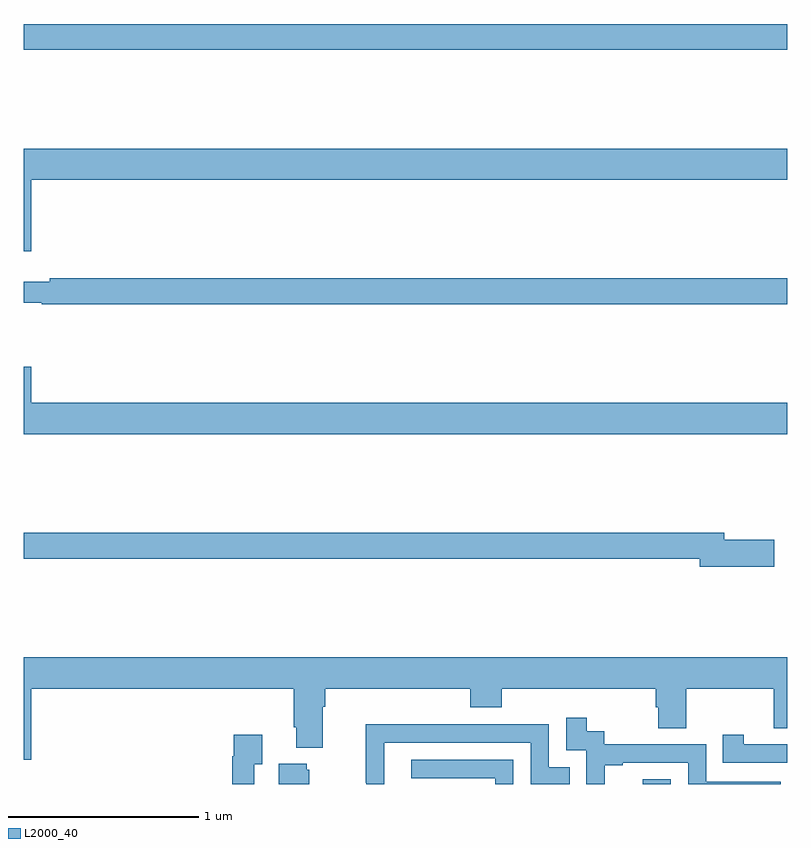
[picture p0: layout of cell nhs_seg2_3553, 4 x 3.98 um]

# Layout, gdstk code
import gdstk
lib = gdstk.Library(unit=1e-6, precision=1e-09)
def R(c, l, rs):  # rectangles x0, y0, x1, y1
    for r in rs: c.add(gdstk.rectangle(r[:2], r[2:], *l))
def P(c, l, *ps):  # polygons
    for p in ps: c.add(gdstk.Polygon(p, *l))
L2000_40 = (2000, 40)

nhs_seg2_3553 = lib.new_cell('nhs_seg2_3553')
R(nhs_seg2_3553, L2000_40, [(300.243,649.8,300.39,649.825), (297,653.644,301,653.78)])
P(nhs_seg2_3553, L2000_40, [(297.04,652.964),(301,652.964),(301,653.128),(297,653.128),(297,652.59),(297.04,652.59)],
  [(301,652.448),(297.136,652.448),(297.136,652.429),(297,652.429),(297,652.32),(297.095,652.32),(297.095,652.312),(301,652.312)],
  [(301,651.796),(297.04,651.796),(297.04,651.985),(297,651.985),(297,651.632),(301,651.632)],
  [(300.931,651.08),(300.67,651.08),(300.67,651.116),(297,651.116),(297,650.98),(300.542,650.98),(300.542,650.938),(300.931,650.938)],
  [(297.04,650.3),(298.415,650.3),(298.415,650.098),(298.427,650.098),(298.427,649.991),(298.567,649.991),(298.567,650.204),(298.58,650.204),(298.58,650.3),(299.339,650.3),(299.339,650.201),(299.504,650.201),(299.504,650.3),(300.311,650.3),(300.311,650.202),(300.323,650.202),(300.323,650.092),(300.471,650.092),(300.471,650.3),(300.928,650.3),(300.928,650.092),(301,650.092),(301,650.464),(297,650.464),(297,649.926),(297.04,649.926)],
  [(300.044,649.899),(300.139,649.899),(300.139,649.911),(300.48,649.911),(300.48,649.8),(300.965,649.8),(300.965,649.812),(300.576,649.812),(300.576,650.007),(300.042,650.007),(300.042,650.076),(299.95,650.076),(299.95,650.146),(299.841,650.146),(299.841,649.977),(299.946,649.977),(299.946,649.8),(300.044,649.8)],
  [(298.89,650.016),(299.655,650.016),(299.655,649.8),(299.861,649.8),(299.861,649.887),(299.751,649.887),(299.751,650.112),(299.255,650.112),(299.255,650.114),(298.792,650.114),(298.792,649.807),(298.794,649.807),(298.794,649.8),(298.89,649.8)],
  [(298.209,649.903),(298.249,649.903),(298.249,650.059),(298.101,650.059),(298.101,649.946),(298.093,649.946),(298.093,649.8),(298.209,649.8)],
  [(301,650.007),(300.772,650.007),(300.772,650.059),(300.661,650.059),(300.661,649.911),(301,649.911)],
  [(299.565,649.926),(299.031,649.926),(299.031,649.83),(299.469,649.83),(299.469,649.8),(299.565,649.8)],
  [(298.495,649.875),(298.484,649.875),(298.484,649.906),(298.337,649.906),(298.337,649.8),(298.495,649.8)])

lib.write_gds('nhs_seg2_3553.gds')
